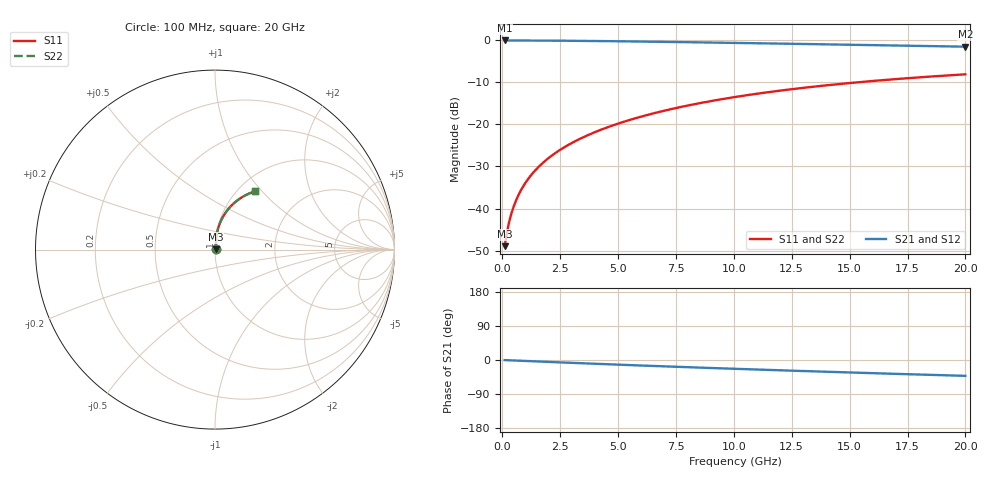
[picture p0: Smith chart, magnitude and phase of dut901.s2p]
! Touchstone file exported from HFSS 2024.1.0
!  File:  C:/UserFiles/LocalFiles/RDL_TSV_Batchsim/temp_RDL_top_901_1779935548.aedt
!  Generated:  10:35:52 AM May 28, 2026
!  Design:  RDL_top
!  Project:  temp_RDL_top_901_1779935548
!  Setup:  Setup1
!  Solution:  Sweep
! Variables:
!  dtsv = 10.80580581um
!  hbump = 3um
!  htsv = 73.95um
!  ldown = 100um
!  lrdl = 566.96um
!  p = 40
!  p1 = 55.06um
!  rhole = 1um
!  t = 450um
!  tdown = 3.915915916um
!  trdl = 3.46um
!  wdown = 15.38538539um
!  wrdl = 21.91um
# GHz S MA R 50.000000
! Terminal data exported
! Port[1] = Box2_T1
! Port[2] = Box2_T2
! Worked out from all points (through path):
!   200 points, 100 MHz to 20 GHz, reference 50 ohm
!   highest |S21| = -0.02 dB at 100 MHz (marker M1); lowest = -1.5 dB at 20 GHz (marker M2)
!   group delay of S21, straight-line fit = 5.77 ps
!   lowest |S11| = -48.9 dB at 100 MHz (marker M3), VSWR 1.01, Z = 50.3 + j0.217 ohm
!   |S11| at or under -10 dB: start of sweep to 15.3 GHz
!   |S22| runs from -48.9 to -8.1 dB; largest |S21 - S12| = 2.7e-15
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0.1  0.003569 37.1  0.9971 -0.3  0.9971 -0.3  0.003569 37.1
! Gamma 0 0 0 0
! Port Impedance 50 0 50 0
0.2  0.005183 55.0  0.997 -0.5  0.997 -0.5  0.005183 55.0
0.3  0.006994 63.5  0.9968 -0.8  0.9968 -0.8  0.006994 63.5
0.4  0.008845 68.4  0.9966 -1.0  0.9966 -1.0  0.008845 68.4
0.5  0.01071 71.7  0.9964 -1.3  0.9964 -1.3  0.01071 71.7
0.6  0.01259 74.1  0.9963 -1.5  0.9963 -1.5  0.01259 74.1
0.8  0.01638 77.3  0.9959 -2.0  0.9959 -2.0  0.01638 77.3
1.1  0.02216 80.1  0.9953 -2.8  0.9953 -2.8  0.02216 80.1
1.5  0.02997 82.1  0.9943 -3.8  0.9943 -3.8  0.02997 82.1
1.8  0.0359 82.9  0.9933 -4.6  0.9933 -4.6  0.0359 82.9
2.1  0.04189 83.4  0.9922 -5.3  0.9922 -5.3  0.04189 83.4
2.7  0.05402 83.9  0.9896 -6.8  0.9896 -6.8  0.05401 83.9
3.5  0.0705 83.9  0.9853 -8.7  0.9853 -8.7  0.07049 83.9
4.2  0.0852 83.4  0.9809 -10.4  0.9809 -10.4  0.08519 83.4
5  0.1023 82.7  0.9753 -12.3  0.9753 -12.3  0.1023 82.6
5.9  0.1218 81.5  0.9685 -14.4  0.9685 -14.4  0.1217 81.5
6.8  0.1414 80.1  0.9612 -16.4  0.9612 -16.4  0.1414 80.1
8.4  0.1764 77.4  0.9475 -19.8  0.9475 -19.8  0.1763 77.3
10.1  0.213 74.2  0.9323 -23.4  0.9323 -23.4  0.2129 74.1
13.4  0.2804 67.7  0.902 -29.9  0.902 -29.9  0.2802 67.7
16.7  0.3411 61.4  0.8713 -36.1  0.8713 -36.1  0.3409 61.3
20  0.3944 55.4  0.8409 -41.8  0.8409 -41.8  0.3942 55.4
